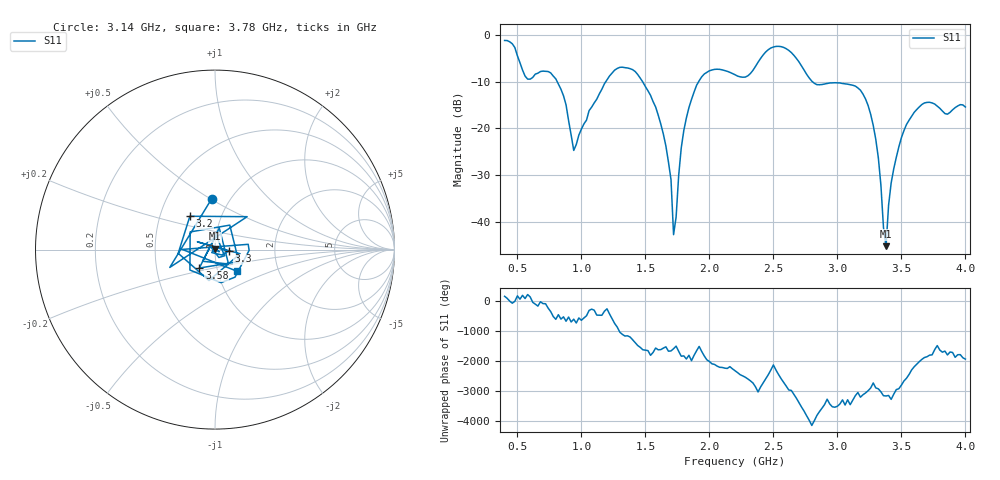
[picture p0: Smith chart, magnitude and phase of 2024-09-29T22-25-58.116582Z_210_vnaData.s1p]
!Created with skrf (http://scikit-rf.org).
# Hz S RI R 50.0
!freq ReS11 ImS11
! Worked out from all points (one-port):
!   181 points, 400 MHz to 4 GHz, reference 50 ohm
!   lowest |S11| = -45.2 dB at 3.38 GHz (marker M1), VSWR 1.01, Z = 50 + j0.55 ohm
!   |S11| at or under -10 dB: 810.9 MHz to 1.191 GHz (380.1 MHz wide, 38 % of centre); 1.478 GHz to 1.916 GHz (438.2 MHz wide, 25.8 % of centre); 2.805 GHz to end of sweep
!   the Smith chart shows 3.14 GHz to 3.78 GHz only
!   S11 on the Smith chart (normalised r, x): 3.14 GHz: 0.82, +0.51; 3.2 GHz: 0.71, +0.28; 3.3 GHz: 1.16, -0.02; 3.58 GHz: 0.82, -0.17; 3.78 GHz: 1.24, -0.31
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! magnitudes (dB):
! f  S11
! 400 MHz  -1.2
! 580 MHz  -9.5
! 740 MHz  -7.8
! 860 MHz  -13.0
! 940 MHz  -24.7
! 1.3 GHz  -6.9
! 1.42 GHz  -7.8
! 1.58 GHz  -15.4
! 1.7 GHz  -30.9
! 1.72 GHz  -42.7
! 1.76 GHz  -30.1
! 1.8 GHz  -20.5
! 1.9 GHz  -10.8
! 2.2 GHz  -8.5
! 2.5 GHz  -2.6
! 2.66 GHz  -4.4
! 2.84 GHz  -10.6
! 3.1 GHz  -10.7
! 3.14 GHz  -10.9
! 3.2 GHz  -12.7
! 3.3 GHz  -22.4
! 3.38 GHz  -45.2
! 3.4 GHz  -36.4
! 3.44 GHz  -28.7
! 3.56 GHz  -18.2
! 3.58 GHz  -17.4
! 3.78 GHz  -15.2
! 4 GHz  -15.4
